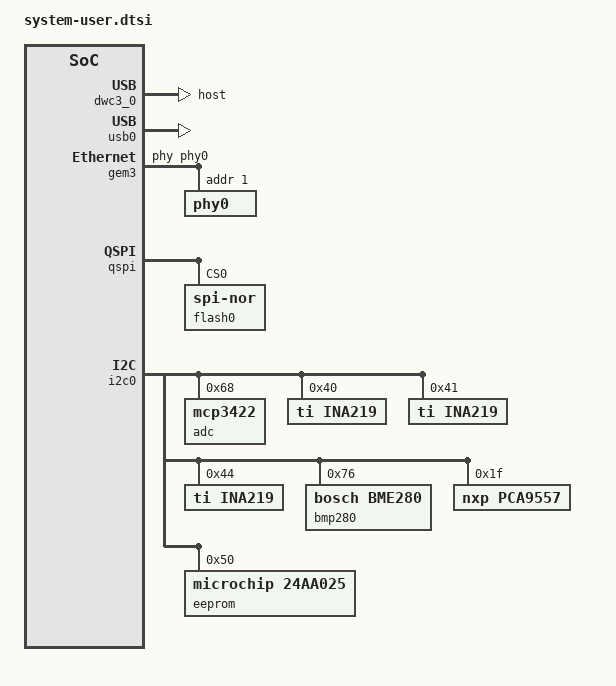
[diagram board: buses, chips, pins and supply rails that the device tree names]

/*-------------------- SD0 eMMC ----------------*/
&sdhci0 {
    // disable-wp;
    no-1-8-v;
};


/*-------------------- SD1 sd2.0 ----------------*/
&sdhci1 {
    disable-wp;
    no-1-8-v;
};


/*-------------------- USB 2.0 only ----------------*/
&dwc3_0 {
    status = "okay";
    dr_mode = "host";
    maximum-speed = "high-speed";
    /delete-property/phy-names;
    /delete-property/phys;
    /delete-property/snps,usb3_lpm_capable;
     snps,dis_u2_susphy_quirk;
    snps,dis_u3_susphy_quirk;
};

&usb0 {
    status = "okay";
    /delete-property/ clocks;
    /delete-property/ clock-names;
    clocks = <0x3 0x20>;
    clock-names = "bus_clk";
};


/*------------------ ETH PHY --------------------*/
&gem3 {
    /delete-property/ local-mac-address;
    phy-handle = <&phy0>;
    
    nvmem-cells = <&eth0_addr>;
    nvmem-cell-names = "mac-address";
    
    phy0: phy0@1 {
        device_type = "ethernet-phy";
        reg = <1>;
    };
};


/*------------------ QSPI -------------------- */
&qspi {
    #address-cells = <1>;
    #size-cells = <0>;
    status = "okay";
    flash0: flash@0 {
        compatible = "jedec,spi-nor";
        reg = <0x0>;
        #address-cells = <1>;
        #size-cells = <1>;
    };
};

/*----------------------  PL  -----------------*/
&axi_dma_0{
	compatible = "arty-axidma-0";
};

&axi_dma_1{
	compatible = "arty-axidma-1";
};


/*------------------ I2C --------------------*/
&i2c0 {
	status = "okay";

	adc@68 {
		compatible = "mcp3422";
		reg = <0x68>;
	};

	ina219@40 {
		compatible = "ti,ina219";
		reg = <0x40>;
		// shunt-resistor = <100000>;
	};
	ina219@41 {
		compatible = "ti,ina219";
		reg = <0x41>;
		// shunt-resistor = <60000>; /* = 60 mOhms */
	};
	ina219@44 {
		compatible = "ti,ina219";
		reg = <0x44>;
	};

	bmp280@76 {
		compatible = "bosch,bme280";
		reg = <0x76>;
	};


	pca9557@1f {
		compatible = "nxp,pca9557";
		reg = <0x1f>;
		gpio-controller;
		#gpio-cells = <2>;
	};


    eeprom: eeprom@50 {
        compatible = "microchip,24aa025", "atmel,24c02";
        reg = <0x50>;
        #address-cells = <1>;
        #size-cells = <1>;
         eth0_addr: eth-mac-addr@FA {
              reg = <0xFA 0x06>;
            };
        };
};

